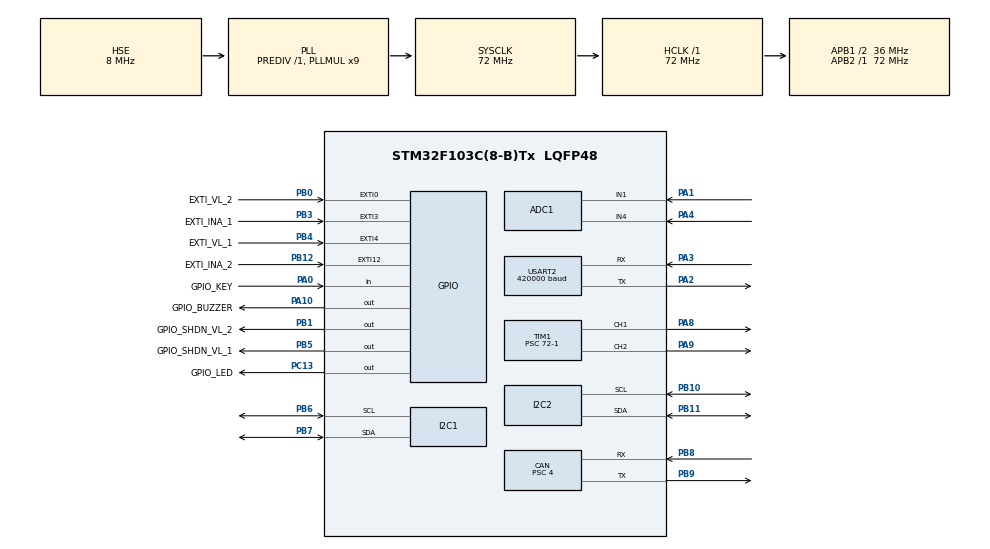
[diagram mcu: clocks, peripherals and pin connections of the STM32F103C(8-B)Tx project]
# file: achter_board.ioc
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ADC1.Channel-0\#ChannelRegularConversion=ADC_CHANNEL_1
ADC1.Channel-1\#ChannelRegularConversion=ADC_CHANNEL_4
ADC1.Channel-2\#ChannelRegularConversion=ADC_CHANNEL_TEMPSENSOR
ADC1.Channel-3\#ChannelRegularConversion=ADC_CHANNEL_VREFINT
ADC1.ExternalTrigConv=ADC_EXTERNALTRIGCONV_T3_TRGO
ADC1.NbrOfConversion=4
ADC1.NbrOfConversionFlag=1
ADC1.Rank-0\#ChannelRegularConversion=1
ADC1.Rank-1\#ChannelRegularConversion=2
ADC1.Rank-2\#ChannelRegularConversion=3
ADC1.Rank-3\#ChannelRegularConversion=4
ADC1.SamplingTime-0\#ChannelRegularConversion=ADC_SAMPLETIME_239CYCLES_5
ADC1.SamplingTime-1\#ChannelRegularConversion=ADC_SAMPLETIME_239CYCLES_5
ADC1.SamplingTime-2\#ChannelRegularConversion=ADC_SAMPLETIME_239CYCLES_5
ADC1.SamplingTime-3\#ChannelRegularConversion=ADC_SAMPLETIME_239CYCLES_5
ADC1.master=1
CAN.ABOM=ENABLE
CAN.BS1=CAN_BS1_15TQ
CAN.BS2=CAN_BS2_2TQ
CAN.CalculateBaudRate=500000
CAN.CalculateTimeBit=2000
CAN.CalculateTimeQuantum=111.11111111111111
CAN.NART=ENABLE
CAN.Prescaler=4
Dma.ADC1.0.Direction=DMA_PERIPH_TO_MEMORY
Dma.ADC1.0.Instance=DMA1_Channel1
Dma.ADC1.0.MemDataAlignment=DMA_MDATAALIGN_HALFWORD
Dma.ADC1.0.MemInc=DMA_MINC_ENABLE
Dma.ADC1.0.Mode=DMA_CIRCULAR
Dma.ADC1.0.PeriphDataAlignment=DMA_PDATAALIGN_HALFWORD
Dma.ADC1.0.PeriphInc=DMA_PINC_DISABLE
Dma.ADC1.0.Priority=DMA_PRIORITY_MEDIUM
Dma.Request0=ADC1
FREERTOS.Tasks01=defaultTask,24,128,StartDefaultTask,Default,NULL,Dynamic,NULL,NULL
FREERTOS.configCHECK_FOR_STACK_OVERFLOW=1
FREERTOS.configTOTAL_HEAP_SIZE=4096+2048
FREERTOS.configUSE_NEWLIB_REENTRANT=1
FREERTOS.configUSE_TRACE_FACILITY=0
I2C1.I2C_Mode=I2C_Fast
I2C2.I2C_Mode=I2C_Fast
Mcu.Family=STM32F1
Mcu.Name=STM32F103C(8-B)Tx
Mcu.Package=LQFP48
NVIC.CAN1_RX1_IRQn=true\:5\:0\:false\:false\:true\:true\:true\:true\:true
NVIC.DMA1_Channel1_IRQn=true\:5\:0\:false\:false\:true\:true\:false\:true\:true
NVIC.EXTI0_IRQn=true\:5\:0\:false\:false\:true\:true\:true\:true\:true
NVIC.EXTI15_10_IRQn=true\:5\:0\:false\:false\:true\:true\:true\:true\:true
NVIC.EXTI3_IRQn=true\:5\:0\:false\:false\:true\:true\:true\:true\:true
NVIC.EXTI4_IRQn=true\:5\:0\:false\:false\:true\:true\:true\:true\:true
NVIC.PriorityGroup=NVIC_PRIORITYGROUP_4
NVIC.TIM1_UP_IRQn=true\:5\:0\:false\:false\:true\:true\:true\:true\:true
NVIC.TIM4_IRQn=true\:0\:0\:false\:false\:true\:false\:false\:true\:true
NVIC.TimeBase=TIM4_IRQn
NVIC.TimeBaseIP=TIM4
NVIC.USART2_IRQn=true\:5\:0\:false\:false\:true\:true\:true\:true\:true
NVIC.USB_HP_CAN1_TX_IRQn=true\:5\:0\:false\:false\:true\:true\:true\:true\:true
NVIC.USB_LP_CAN1_RX0_IRQn=true\:5\:0\:false\:false\:true\:true\:true\:true\:true
PA0-WKUP.GPIO_Label=GPIO_KEY
PA0-WKUP.GPIO_PuPd=GPIO_PULLUP
PA0-WKUP.Signal=GPIO_Input
PA1.Signal=ADCx_IN1
PA10.GPIO_Label=GPIO_BUZZER
PA10.GPIO_ModeDefaultOutputPP=GPIO_MODE_OUTPUT_OD
PA10.GPIO_PuPd=GPIO_NOPULL
PA10.PinState=GPIO_PIN_SET
PA10.Signal=GPIO_Output
PA11.Signal=USB_DM
PA12.Signal=USB_DP
PA13.Mode=Serial_Wire
PA13.Signal=SYS_JTMS-SWDIO
PA14.Mode=Serial_Wire
PA14.Signal=SYS_JTCK-SWCLK
PA2.Mode=Asynchronous
PA2.Signal=USART2_TX
PA3.Mode=Asynchronous
PA3.Signal=USART2_RX
PA4.Signal=ADCx_IN4
PA5.Signal=SPI1_SCK
PA6.Signal=SPI1_MISO
PA7.Signal=SPI1_MOSI
PA8.Signal=S_TIM1_CH1
PA9.Signal=S_TIM1_CH2
PB0.GPIO_Label=EXTI_VL_2
PB0.GPIO_ModeDefaultEXTI=GPIO_MODE_IT_FALLING
PB0.GPIO_PuPd=GPIO_PULLUP
PB0.Signal=GPXTI0
PB1.GPIO_Label=GPIO_SHDN_VL_2
PB1.Signal=GPIO_Output
PB10.Mode=I2C
PB10.Signal=I2C2_SCL
PB11.Mode=I2C
PB11.Signal=I2C2_SDA
PB12.GPIO_Label=EXTI_INA_2
PB12.GPIO_ModeDefaultEXTI=GPIO_MODE_IT_FALLING
PB12.GPIO_PuPd=GPIO_PULLUP
PB12.Signal=GPXTI12
PB3.GPIO_Label=EXTI_INA_1
PB3.GPIO_ModeDefaultEXTI=GPIO_MODE_IT_FALLING
PB3.GPIO_PuPd=GPIO_PULLUP
PB3.Signal=GPXTI3
PB4.GPIO_Label=EXTI_VL_1
PB4.GPIO_ModeDefaultEXTI=GPIO_MODE_IT_FALLING
PB4.GPIO_PuPd=GPIO_PULLUP
PB4.Signal=GPXTI4
PB5.GPIO_Label=GPIO_SHDN_VL_1
PB5.Signal=GPIO_Output
PB6.Mode=I2C
PB6.Signal=I2C1_SCL
PB7.Mode=I2C
PB7.Signal=I2C1_SDA
PB8.Mode=CAN_Activate
PB8.Signal=CAN_RX
PB9.Mode=CAN_Activate
PB9.Signal=CAN_TX
PC13-TAMPER-RTC.GPIO_Label=GPIO_LED
PC13-TAMPER-RTC.Signal=GPIO_Output
PC14-OSC32_IN.Mode=LSE-External-Oscillator
PC14-OSC32_IN.Signal=RCC_OSC32_IN
PC15-OSC32_OUT.Mode=LSE-External-Oscillator
PC15-OSC32_OUT.Signal=RCC_OSC32_OUT
PD0-OSC_IN.Mode=HSE-External-Oscillator
PD0-OSC_IN.Signal=RCC_OSC_IN
PD1-OSC_OUT.Mode=HSE-External-Oscillator
PD1-OSC_OUT.Signal=RCC_OSC_OUT
ProjectManager.HeapSize=0x200
ProjectManager.StackSize=0x400
ProjectManager.TargetToolchain=STM32CubeIDE
RCC.ADCPresc=RCC_ADCPCLK2_DIV6
RCC.AHBFreq_Value=72000000
RCC.APB1CLKDivider=RCC_HCLK_DIV2
RCC.APB1Freq_Value=36000000
RCC.APB1TimFreq_Value=72000000
RCC.APB2Freq_Value=72000000
RCC.APB2TimFreq_Value=72000000
RCC.HCLKFreq_Value=72000000
RCC.PLLMUL=RCC_PLL_MUL9
RCC.PLLSourceVirtual=RCC_PLLSOURCE_HSE
RCC.SYSCLKFreq_VALUE=72000000
RCC.SYSCLKSource=RCC_SYSCLKSOURCE_PLLCLK
RCC.USBFreq_Value=72000000
SH.ADCx_IN1.0=ADC1_IN1,IN1
SH.ADCx_IN4.0=ADC1_IN4,IN4
SH.S_TIM1_CH1.0=TIM1_CH1,PWM Generation1 CH1
SH.S_TIM1_CH2.0=TIM1_CH2,PWM Generation2 CH2
TIM1.Channel-PWM\ Generation1\ CH1=TIM_CHANNEL_1
TIM1.Channel-PWM\ Generation2\ CH2=TIM_CHANNEL_2
TIM1.Period=10000-1
TIM1.Prescaler=72-1
TIM1.Pulse-PWM\ Generation1\ CH1=1500
TIM1.Pulse-PWM\ Generation2\ CH2=1500
TIM3.Period=1000-1
TIM3.Prescaler=72-1
TIM3.TIM_MasterOutputTrigger=TIM_TRGO_UPDATE
USART2.BaudRate=420000
USART2.VirtualMode=VM_ASYNC
VP_ADC1_TempSens_Input.Mode=IN-TempSens
VP_ADC1_Vref_Input.Mode=IN-Vrefint
VP_FREERTOS_VS_CMSIS_V2.Mode=CMSIS_V2
VP_SYS_VS_tim4.Mode=TIM4
VP_TIM1_VS_ClockSourceINT.Mode=Internal
VP_TIM3_VS_ClockSourceINT.Mode=Internal
board=custom

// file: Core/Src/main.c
/* USER CODE BEGIN Header */
/**
  ******************************************************************************
  * @file           : main.c
  * @brief          : Main program body
  ******************************************************************************
  * @attention
  *
  * Copyright (c) 2025 STMicroelectronics.
  * All rights reserved.
  *
  * This software is licensed under terms that can be found in the LICENSE file
  * in the root directory of this software component.
  * If no LICENSE file comes with this software, it is provided AS-IS.
  *
  ******************************************************************************
  */
/* USER CODE END Header */
#include "main.h"
#include "cmsis_os.h"
#include "adc.h"
#include "can.h"
#include "dma.h"
#include "i2c.h"
#include "tim.h"
#include "usart.h"
#include "gpio.h"

/* USER CODE BEGIN Includes */
#include "achter_board.h"

#include "can-not/can_not.h"

#include "i2c_bus_guard.h"

#include "task_range_meas.h"
#include "task_servo_power_monitor.h"
#include "task_servo_control.h"

#include "crsf/crsf_port.h"
/* USER CODE END Includes */

void SystemClock_Config(void);
void MX_FREERTOS_Init(void);

int main(void)
{

  /* MCU Configuration--------------------------------------------------------*/

  /* Reset of all peripherals, Initializes the Flash interface and the Systick. */
  HAL_Init();

  /* Configure the system clock */
  SystemClock_Config();

  /* Initialize all configured peripherals */
  MX_GPIO_Init();
  MX_DMA_Init();
  MX_ADC1_Init();
  MX_CAN_Init();
  MX_TIM1_Init();
  MX_I2C1_Init();
  MX_I2C2_Init();
  MX_TIM3_Init();
  MX_USART2_UART_Init();
  /* USER CODE BEGIN 2 */
  buzz();

  achter_board_init();
  cant_main_init();
  i2c_mutexes_init();
  CRSF_Init(&huart2, &htim1);

  uint32_t startup_counter = 0;
  HAL_GPIO_WritePin(GPIO_LED_GPIO_Port, GPIO_LED_Pin, GPIO_PIN_RESET);
  while (HAL_GPIO_ReadPin(GPIO_KEY_GPIO_Port, GPIO_KEY_Pin) == GPIO_PIN_RESET)
  {
	  /* Increase counter each milisecond */
	  startup_counter++;
	  HAL_Delay(1);

	  /* Toggle led each 500 ms so the whole period is one second */
	  if (startup_counter%500 == 0) HAL_GPIO_TogglePin(GPIO_LED_GPIO_Port, GPIO_LED_Pin);

	  if (startup_counter > 3000)
	  {
		  /* Special mode can be entered here */
	  }
  }

  /* Welcome buzz */
  HAL_Delay(150);
  no_buzz();
  for (int i = 0; i < 3; i++)
  {
	  HAL_Delay(50);
	  buzz();
	  HAL_Delay(50);
	  no_buzz();
  }

  /* USER CODE END 2 */

  /* Init scheduler */
  osKernelInitialize();  /* Call init function for freertos objects (in freertos.c) */
  MX_FREERTOS_Init();

  /* Start scheduler */
  osKernelStart();
  /* We should never get here as control is now taken by the scheduler */
  /* Infinite loop */
  while (1)
  {

  }
}

void SystemClock_Config(void)
{
  RCC_OscInitTypeDef RCC_OscInitStruct = {0};
  RCC_ClkInitTypeDef RCC_ClkInitStruct = {0};
  RCC_PeriphCLKInitTypeDef PeriphClkInit = {0};

  /** Initializes the RCC Oscillators according to the specified parameters
  * in the RCC_OscInitTypeDef structure.
  */
  RCC_OscInitStruct.OscillatorType = RCC_OSCILLATORTYPE_HSE;
  RCC_OscInitStruct.HSEState = RCC_HSE_ON;
  RCC_OscInitStruct.HSEPredivValue = RCC_HSE_PREDIV_DIV1;
  RCC_OscInitStruct.HSIState = RCC_HSI_ON;
  RCC_OscInitStruct.PLL.PLLState = RCC_PLL_ON;
  RCC_OscInitStruct.PLL.PLLSource = RCC_PLLSOURCE_HSE;
  RCC_OscInitStruct.PLL.PLLMUL = RCC_PLL_MUL9;
  if (HAL_RCC_OscConfig(&RCC_OscInitStruct) != HAL_OK)
  {
    Error_Handler();
  }

  /** Initializes the CPU, AHB and APB buses clocks
  */
  RCC_ClkInitStruct.ClockType = RCC_CLOCKTYPE_HCLK|RCC_CLOCKTYPE_SYSCLK
                              |RCC_CLOCKTYPE_PCLK1|RCC_CLOCKTYPE_PCLK2;
  RCC_ClkInitStruct.SYSCLKSource = RCC_SYSCLKSOURCE_PLLCLK;
  RCC_ClkInitStruct.AHBCLKDivider = RCC_SYSCLK_DIV1;
  RCC_ClkInitStruct.APB1CLKDivider = RCC_HCLK_DIV2;
  RCC_ClkInitStruct.APB2CLKDivider = RCC_HCLK_DIV1;

  if (HAL_RCC_ClockConfig(&RCC_ClkInitStruct, FLASH_LATENCY_2) != HAL_OK)
  {
    Error_Handler();
  }
  PeriphClkInit.PeriphClockSelection = RCC_PERIPHCLK_ADC;
  PeriphClkInit.AdcClockSelection = RCC_ADCPCLK2_DIV6;
  if (HAL_RCCEx_PeriphCLKConfig(&PeriphClkInit) != HAL_OK)
  {
    Error_Handler();
  }
}

/* USER CODE BEGIN 4 */
//#define CRSF_DEBUG
#ifdef CRSF_DEBUG
volatile uint32_t g_HAL_UART_RxCpltCallback_counter = 0;
volatile uint32_t g_HAL_UART_ErrorCallback_counter = 0;
#endif
void HAL_GPIO_EXTI_Callback(uint16_t GPIO_Pin)
{
	exti_task_range_meas_callback(GPIO_Pin);
	exti_task_servo_power_monitor_callback(GPIO_Pin);
}

void HAL_UART_RxCpltCallback(UART_HandleTypeDef *huart)
{
#ifdef CRSF_DEBUG
	g_HAL_UART_RxCpltCallback_counter++;
#endif
	CRSF_UART_RxCpltCallback(huart);
}
void HAL_UART_ErrorCallback (UART_HandleTypeDef *huart)
{
#ifdef CRSF_DEBUG
	g_HAL_UART_ErrorCallback_counter++;
#endif
	CRSF_UART_ErrorCallback(huart);
}

/* USER CODE END 4 */

void HAL_TIM_PeriodElapsedCallback(TIM_HandleTypeDef *htim)
{
  if (htim->Instance == TIM4) {
    HAL_IncTick();
  }
  /* USER CODE BEGIN Callback 1 */
  if (htim->Instance == TIM1) {
    task_servo_control_tim_callback();
    CRSF_TIM_UpdateIRQ(htim);
  }
  /* USER CODE END Callback 1 */
}

void Error_Handler(void)
{
  __disable_irq();
  while (1)
  {
  }
}

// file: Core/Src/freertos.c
/* USER CODE BEGIN Header */
/**
  ******************************************************************************
  * File Name          : freertos.c
  * Description        : Code for freertos applications
  ******************************************************************************
  * @attention
  *
  * Copyright (c) 2025 STMicroelectronics.
  * All rights reserved.
  *
  * This software is licensed under terms that can be found in the LICENSE file
  * in the root directory of this software component.
  * If no LICENSE file comes with this software, it is provided AS-IS.
  *
  ******************************************************************************
  */
/* USER CODE END Header */

#include "FreeRTOS.h"
#include "task.h"
#include "main.h"
#include "cmsis_os.h"

/* USER CODE BEGIN Includes */
#include "achter_board.h"

#include "can-not/can_not.h"

#include "task_can_rx.h"
#include "task_can_tx.h"
#include "task_adc.h"
#include "task_servo_control.h"
#include "task_servo_power_monitor.h"
#include "task_range_meas.h"

#include "task_crsf_receiver.h"
#include "task_crsf_transmitter.h"

#include "task_motor_control.h"
/* USER CODE END Includes */

/* USER CODE BEGIN Variables */
osThreadId_t task_can_rx_handle;
const osThreadAttr_t task_can_rx_attributes = {
  .name = "task_can_rx",
  .stack_size = 128 * 4,
  .priority = (osPriority_t) osPriorityNormal,
};

osThreadId_t task_can_tx_handle;
const osThreadAttr_t task_can_tx_attributes = {
  .name = "task_can_tx",
  .stack_size = 64 * 4,
  .priority = (osPriority_t) osPriorityNormal,
};

osThreadId_t task_adc_handle;
const osThreadAttr_t task_adc_attributes = {
  .name = "task_adc",
  .stack_size = 96 * 4,
  .priority = (osPriority_t) osPriorityNormal,
};

osThreadId_t task_servo_control_handle;
const osThreadAttr_t task_servo_control_attributes = {
  .name = "task_servo_control",
  .stack_size = 64 * 4,
  .priority = (osPriority_t) osPriorityNormal,
};

osThreadId_t task_servo_power_monitor_handle;
const osThreadAttr_t task_servo_power_monitor_attributes = {
  .name = "task_servo_power_monitor",
  .stack_size = 128 * 4,
  .priority = (osPriority_t) osPriorityNormal,
};

osThreadId_t task_range_meas_handle;
const osThreadAttr_t task_range_meas_attributes = {
  .name = "task_range_meas",
  .stack_size = 128 * 4,
  .priority = (osPriority_t) osPriorityNormal,
};

osThreadId_t task_crsf_receiver_handle;
const osThreadAttr_t task_crsf_receiver_attributes = {
  .name = "task_crsf_receiver",
  .stack_size = 64 * 4,
  .priority = (osPriority_t) osPriorityNormal,
};

osThreadId_t task_crsf_transmitter_handle;
const osThreadAttr_t task_crsf_transmitter_attributes = {
  .name = "task_crsf_transmitter",
  .stack_size = 64 * 4,
  .priority = (osPriority_t) osPriorityNormal,
};

osThreadId_t task_motor_control_handle;
const osThreadAttr_t task_motor_control_attributes = {
  .name = "task_motor_control",
  .stack_size = 64 * 4,
  .priority = (osPriority_t) osPriorityNormal,
};

/* USER CODE END Variables */
/* Definitions for defaultTask */
osThreadId_t defaultTaskHandle;
const osThreadAttr_t defaultTask_attributes = {
  .name = "defaultTask",
  .stack_size = 128 * 4,
  .priority = (osPriority_t) osPriorityNormal,
};

void StartDefaultTask(void *argument);

void MX_FREERTOS_Init(void); /* (MISRA C 2004 rule 8.1) */

/* Hook prototypes */
void vApplicationStackOverflowHook(xTaskHandle xTask, signed char *pcTaskName);

/* USER CODE BEGIN 4 */
void vApplicationStackOverflowHook(xTaskHandle xTask, signed char *pcTaskName)
{
   /* Run time stack overflow checking is performed if
   configCHECK_FOR_STACK_OVERFLOW is defined to 1 or 2. This hook function is
   called if a stack overflow is detected. */
}
/* USER CODE END 4 */

void MX_FREERTOS_Init(void) {
  /* USER CODE BEGIN Init */
	volatile size_t res = xPortGetFreeHeapSize();
	UNUSED(res);

	cant_freertos_init();
	res = xPortGetFreeHeapSize();
  /* USER CODE END Init */

  /* Create the thread(s) */
  /* creation of defaultTask */
  defaultTaskHandle = osThreadNew(StartDefaultTask, NULL, &defaultTask_attributes);

  /* USER CODE BEGIN RTOS_THREADS */
  res = xPortGetFreeHeapSize();

  task_can_rx_handle = osThreadNew(task_can_rx, NULL, &task_can_rx_attributes);
  res = xPortGetFreeHeapSize();

  task_can_tx_handle = osThreadNew(task_can_tx, NULL, &task_can_tx_attributes);
  res = xPortGetFreeHeapSize();

  task_adc_handle = osThreadNew(task_adc, NULL, &task_adc_attributes);
  res = xPortGetFreeHeapSize();

  task_servo_control_handle = osThreadNew(task_servo_control, NULL, &task_servo_control_attributes);
  res = xPortGetFreeHeapSize();

  task_servo_power_monitor_handle = osThreadNew(task_servo_power_monitor, NULL, &task_servo_power_monitor_attributes);
  res = xPortGetFreeHeapSize();

  task_range_meas_handle = osThreadNew(task_range_meas, NULL, &task_range_meas_attributes);
  res = xPortGetFreeHeapSize();

  task_crsf_receiver_handle = osThreadNew(task_crsf_receiver, NULL, &task_crsf_receiver_attributes);
  res = xPortGetFreeHeapSize();

  task_crsf_transmitter_handle = osThreadNew(task_crsf_transmitter, NULL, &task_crsf_transmitter_attributes);
  res = xPortGetFreeHeapSize();

  task_motor_control_handle = osThreadNew(task_motor_control, NULL, &task_motor_control_attributes);
  res = xPortGetFreeHeapSize();

 UNUSED(res);
  /* USER CODE END RTOS_THREADS */

}

/* USER CODE BEGIN Header_StartDefaultTask */
/**
  * @brief  Function implementing the defaultTask thread.
  * @param  argument: Not used
  * @retval None
  */
volatile uint32_t task_can_rx_alive;
volatile uint32_t task_can_tx_alive;
volatile uint32_t task_adc_alive;
volatile uint32_t task_servo_control_alive;
volatile uint32_t task_servo_power_monitor_alive;
volatile uint32_t task_range_meas_alive;
volatile uint32_t task_crsf_receiver_alive;
volatile uint32_t task_crsf_transmitter_alive;
volatile uint32_t task_motor_control_alive;
volatile UBaseType_t task_default_high_watermark;
volatile UBaseType_t task_can_rx_high_watermark;
volatile UBaseType_t task_can_tx_high_watermark;
volatile UBaseType_t task_adc_high_watermark;
volatile UBaseType_t task_servo_control_high_watermark;
volatile UBaseType_t task_servo_power_monitor_high_watermark;
volatile UBaseType_t task_range_meas_high_watermark;
volatile UBaseType_t task_crsf_receiver_high_watermark;
volatile UBaseType_t task_crsf_transmitter_high_watermark;
volatile UBaseType_t task_motor_control_high_watermark;

/* USER CODE END Header_StartDefaultTask */
void StartDefaultTask(void *argument)
{
  /* USER CODE BEGIN StartDefaultTask */
//	achter_board_t* ab_ptr = achter_board_get_ptr();
	osDelay(1000);
  /* Infinite loop */
  for(;;)
  {
	  HAL_GPIO_TogglePin(GPIO_LED_GPIO_Port, GPIO_LED_Pin);
	  osDelay(500);

	  task_default_high_watermark			= uxTaskGetStackHighWaterMark(NULL);
	  task_can_rx_high_watermark           	= uxTaskGetStackHighWaterMark((TaskHandle_t)task_can_rx_handle);
	  task_can_tx_high_watermark			= uxTaskGetStackHighWaterMark((TaskHandle_t)task_can_tx_handle);
	  task_adc_high_watermark              	= uxTaskGetStackHighWaterMark((TaskHandle_t)task_adc_handle);
	  task_servo_control_high_watermark    	= uxTaskGetStackHighWaterMark((TaskHandle_t)task_servo_control_handle);
	  task_servo_power_monitor_high_watermark = uxTaskGetStackHighWaterMark((TaskHandle_t)task_servo_power_monitor_handle);
	  task_range_meas_high_watermark       	= uxTaskGetStackHighWaterMark((TaskHandle_t)task_range_meas_handle);
	  task_crsf_receiver_high_watermark     = uxTaskGetStackHighWaterMark((TaskHandle_t)task_crsf_receiver_handle);
	  task_crsf_transmitter_high_watermark  = uxTaskGetStackHighWaterMark((TaskHandle_t)task_crsf_transmitter_handle);
	  task_motor_control_high_watermark 	= uxTaskGetStackHighWaterMark((TaskHandle_t)task_motor_control_handle);
  }
  /* USER CODE END StartDefaultTask */
}
